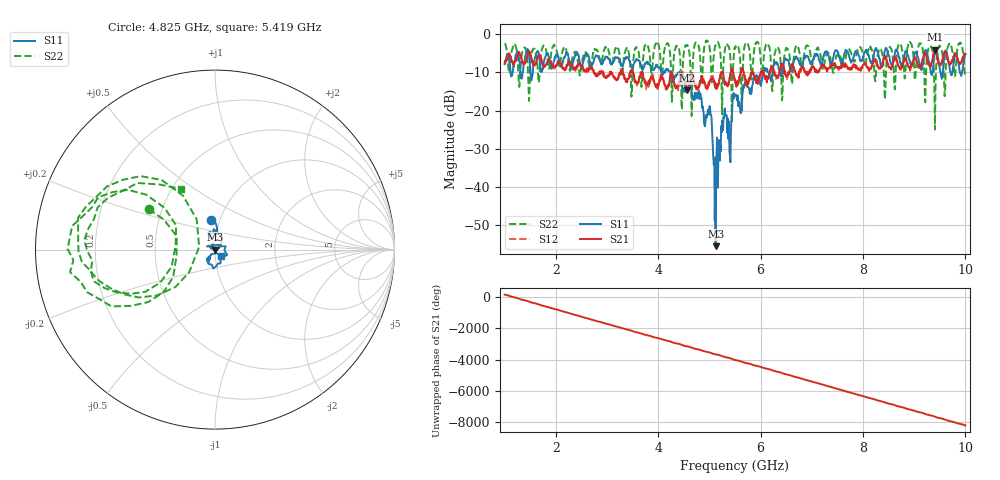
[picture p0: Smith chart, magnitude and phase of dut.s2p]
!Created with skrf (http://scikit-rf.org).
# GHz S RI R 376.73031366686166
!freq ReS11 ImS11 ReS21 ImS21 ReS12 ImS12 ReS22 ImS22
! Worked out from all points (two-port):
!   1001 points, 1 GHz to 10 GHz, reference 376.73 ohm
!   highest |S21| = -4.08 dB at 9.406 GHz (marker M1); lowest = -14.8 dB at 4.564 GHz (marker M2)
!   |S21| within 3 dB of the highest: 1.212 GHz to 1.338 GHz (126.4 MHz wide, 9.91 % of centre); 9.351 GHz to 9.47 GHz (119 MHz wide, 1.26 % of centre)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
!   lowest |S11| = -55.4 dB at 5.122 GHz (marker M3), VSWR 1.00, Z = 375 + j0.269 ohm
!   |S11| at or under -10 dB: 4.233 GHz to 4.409 GHz (176.2 MHz wide, 4.08 % of centre); 4.413 GHz to 6.059 GHz (1.646 GHz wide, 31.4 % of centre); 6.148 GHz to 6.238 GHz (89.84 MHz wide, 1.45 % of centre)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
!   |S22| runs from -25.0 to -1.7 dB; largest |S21 - S12| = 0.052
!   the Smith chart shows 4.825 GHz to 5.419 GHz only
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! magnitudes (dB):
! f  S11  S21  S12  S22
! 1 GHz  -7.9  -7.5  -7.7  -2.5
! 1.477 GHz  -5.2  -4.5  -4.7  -17.5
! 2.503 GHz  -8.5  -8.5  -8.0  -7.7
! 4.006 GHz  -8.8  -12.9  -13.5  -2.7
! 4.456 GHz  -12.2  -10.3  -9.6  -19.3
! 4.564 GHz  -12.4  -14.8  -14.1  -3.0
! 4.645 GHz  -14.1  -10.5  -10.9  -15.3
! 4.744 GHz  -16.9  -14.2  -14.5  -2.2
! 5.005 GHz  -18.8  -12.3  -12.6  -3.7
! 5.122 GHz  -55.4  -14.0  -13.5  -3.1
! 5.275 GHz  -21.7  -10.8  -11.4  -7.7
! 5.392 GHz  -30.7  -11.9  -11.5  -4.3
! 5.5 GHz  -15.8  -12.0  -12.9  -3.9
! 7.003 GHz  -7.3  -8.4  -8.6  -7.9
! 8.425 GHz  -4.4  -6.2  -5.9  -17.1
! 8.506 GHz  -5.7  -8.5  -8.7  -3.8
! 9.118 GHz  -8.8  -8.2  -8.6  -2.6
! 9.217 GHz  -4.3  -5.0  -5.2  -17.9
! 9.316 GHz  -9.3  -8.2  -8.6  -3.2
! 9.406 GHz  -4.4  -4.1  -4.1  -25.0
! 9.694 GHz  -9.1  -8.1  -8.1  -2.5
! 10 GHz  -5.2  -5.3  -5.2  -10.7
